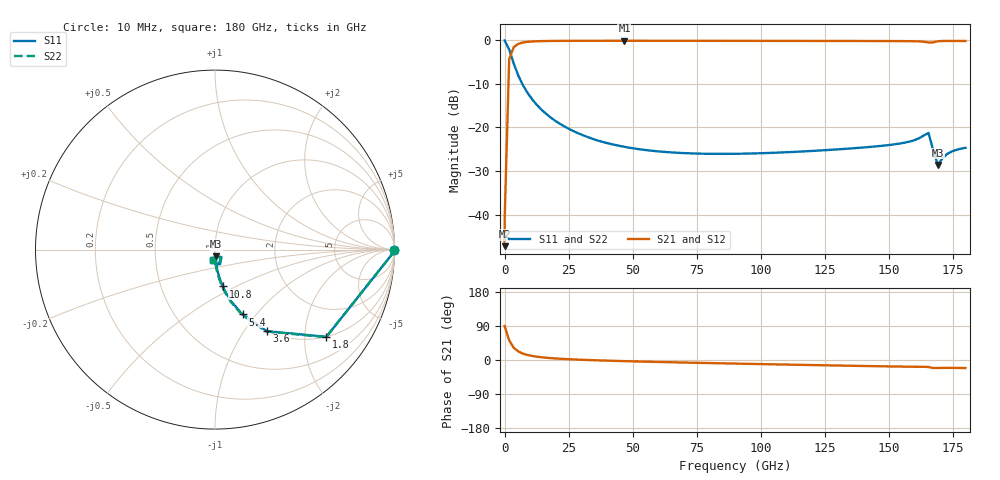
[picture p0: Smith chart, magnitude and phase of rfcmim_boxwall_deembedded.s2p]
!port 1: calibrated at port wall xmin, reference plane 35 um into the layout
!port 2: calibrated at port wall xmax, reference plane 35 um into the layout
! Created with skrf 2.2.0 (http://scikit-rf.org).
# GHz S DB R 50.0
!freq dBS11 angS11 dBS21 angS21 dBS12 angS12 dBS22 angS22
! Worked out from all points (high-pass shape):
!   102 points, 10 MHz to 180 GHz, reference 50 ohm
!   highest |S21| = -0.08 dB at 46.8 GHz (marker M1); lowest = -47.3 dB at 10 MHz (marker M2)
!   |S21| within 3 dB of the highest: 2.57 GHz to end of sweep
!   lowest |S11| = -28.6 dB at 169.2 GHz (marker M3), VSWR 1.08, Z = 50.5 - j3.69 ohm
!   |S11| at or under -10 dB: 6.95 GHz to end of sweep
!   |S22| runs from -28.4 to 0.0 dB; largest |S21 - S12| = 2.5e-13
!   S11 on the Smith chart (normalised r, x): 10 MHz: open; 1.8 GHz: 1.00, -2.56; 3.6 GHz: 1.00, -1.28; 5.4 GHz: 1.00, -0.85; 10.8 GHz: 1.00, -0.43; 180 GHz: 0.97, -0.11
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0.01  -0.00 -0.2  -47.28 89.7  -47.28 89.7  -0.00 -0.3
0.02  -0.00 -0.5  -41.26 89.5  -41.26 89.5  -0.00 -0.5
1.8  -2.07 -38.0  -4.24 51.7  -4.24 51.7  -2.07 -38.3
3.6  -5.36 -57.5  -1.52 32.1  -1.52 32.1  -5.37 -57.9
5.4  -8.12 -67.0  -0.76 22.4  -0.76 22.4  -8.13 -67.6
7.2  -10.30 -72.4  -0.46 16.8  -0.46 16.8  -10.32 -73.1
10.8  -13.55 -78.0  -0.23 10.6  -0.23 10.6  -13.57 -79.0
14.4  -15.90 -80.9  -0.15 7.2  -0.15 7.2  -15.92 -82.2
19.8  -18.46 -83.1  -0.11 4.1  -0.11 4.1  -18.50 -84.8
30.6  -21.78 -84.9  -0.08 0.5  -0.08 0.5  -21.83 -87.4
46.8  -24.45 -86.0  -0.08 -3.0  -0.08 -3.0  -24.54 -89.3
61.2  -25.55 -86.6  -0.08 -5.4  -0.08 -5.4  -25.67 -90.5
91.8  -26.03 -88.3  -0.09 -9.7  -0.09 -9.7  -26.18 -92.4
120.6  -25.37 -90.5  -0.11 -13.4  -0.11 -13.4  -25.54 -94.4
151.2  -23.96 -93.1  -0.14 -17.0  -0.14 -17.0  -24.13 -96.8
160.2  -22.90 -91.5  -0.19 -17.8  -0.19 -17.8  -23.08 -95.5
165.6  -21.26 -71.1  -0.47 -18.5  -0.47 -18.5  -21.38 -76.2
167.4  -25.16 -49.1  -0.44 -21.1  -0.44 -21.1  -24.98 -54.7
169.2  -28.63 -79.6  -0.18 -21.1  -0.18 -21.1  -28.36 -81.8
171  -27.10 -93.7  -0.13 -20.8  -0.13 -20.8  -27.09 -95.7
172.8  -26.12 -97.1  -0.12 -20.7  -0.12 -20.7  -26.19 -99.3
180  -24.67 -99.7  -0.12 -21.2  -0.12 -21.2  -24.81 -102.3
